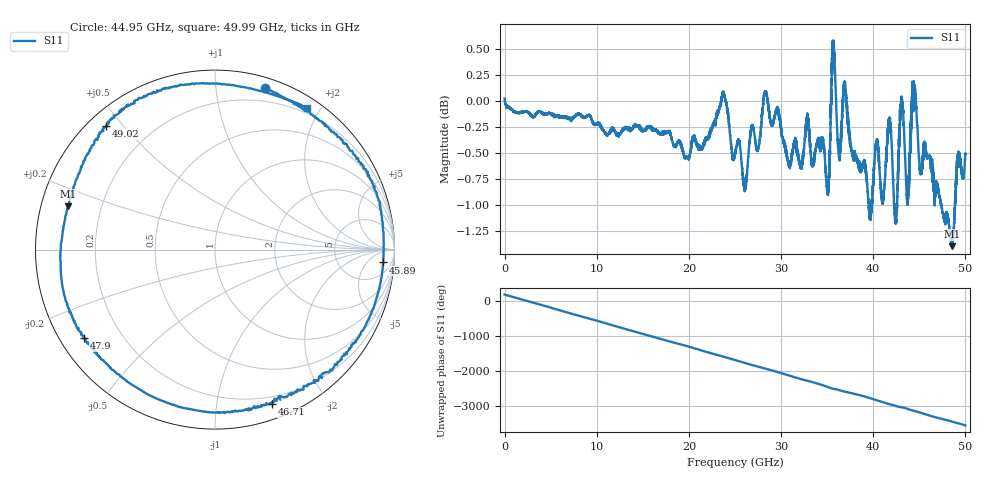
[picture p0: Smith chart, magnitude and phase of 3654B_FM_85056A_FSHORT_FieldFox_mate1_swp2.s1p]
!Created with skrf (http://scikit-rf.org).
# Hz S RI R 50.0
!freq ReS11 ImS11
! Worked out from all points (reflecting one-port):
!   10000 points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, 5.3 MHz to 50 GHz, reference 50 ohm
!   lowest |S11| = -1.4 dB at 48.59 GHz (marker M1), VSWR 12.48, Z = 4.09 + j7.21 ohm
!   phase of S11 starts at 180 deg and turns -3724 deg over the sweep
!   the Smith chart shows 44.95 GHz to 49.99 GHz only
!   S11 on the Smith chart (normalised r, x): 44.95 GHz: 0.09, +1.35; 45.89 GHz: 13, -16; 46.71 GHz: 0.13, -1.43; 47.9 GHz: 0.07, -0.31; 49.02 GHz: 0.05, +0.45; 49.99 GHz: 0.13, +1.83
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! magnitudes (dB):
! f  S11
! 5.3 MHz  0.0
! 6.255 GHz  -0.1
! 12.51 GHz  -0.3
! 18.76 GHz  -0.4
! 23.76 GHz  0.1
! 25.01 GHz  -0.5
! 26.1 GHz  -0.8
! 28.33 GHz  0.1
! 31.26 GHz  -0.5
! 35.04 GHz  -0.9
! 35.7 GHz  0.6
! 36.27 GHz  -0.5
! 36.89 GHz  0.2
! 37.51 GHz  -0.4
! 39.67 GHz  -1.1
! 41.78 GHz  -0.2
! 42.42 GHz  -1.2
! 43.12 GHz  0.0
! 43.76 GHz  -0.9
! 44.39 GHz  0.1
! 44.95 GHz  -0.5
! 45.89 GHz  -0.5
! 46.71 GHz  -0.8
! 47.9 GHz  -1.1
! 48.59 GHz  -1.4
! 49.02 GHz  -0.7
! 49.99 GHz  -0.5
! 50 GHz  -0.5
